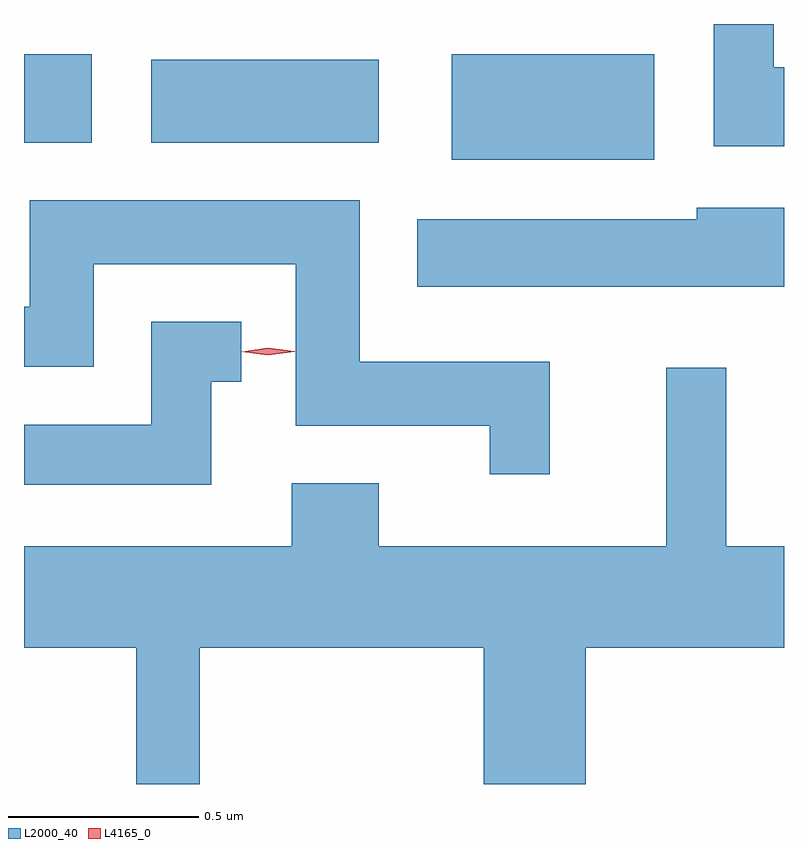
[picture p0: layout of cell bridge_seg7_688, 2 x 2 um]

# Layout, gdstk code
import gdstk
lib = gdstk.Library(unit=1e-6, precision=1e-09)
def R(c, l, rs):  # rectangles x0, y0, x1, y1
    for r in rs: c.add(gdstk.rectangle(r[:2], r[2:], *l))
def P(c, l, *ps):  # polygons
    for p in ps: c.add(gdstk.Polygon(p, *l))
L2000_40 = (2000, 40)
L4165_0 = (4165, 0)

bridge_seg7_688 = lib.new_cell('bridge_seg7_688')
R(bridge_seg7_688, L2000_40, [(974.231,1702.281,974.764,1702.559), (973.106,1702.326,973.284,1702.559), (973.441,1702.326,974.039,1702.544)])
P(bridge_seg7_688, L2000_40, [(975.106,1702.524),(975.079,1702.524),(975.079,1702.638),(974.921,1702.638),(974.921,1702.316),(975.106,1702.316)],
  [(974.489,1701.749),(973.989,1701.749),(973.989,1702.174),(973.121,1702.174),(973.121,1701.894),(973.106,1701.894),(973.106,1701.736),(973.289,1701.736),(973.289,1702.006),(973.821,1702.006),(973.821,1701.581),(974.331,1701.581),(974.331,1701.453),(974.489,1701.453)],
  [(975.106,1702.154),(974.876,1702.154),(974.876,1702.124),(974.141,1702.124),(974.141,1701.946),(975.106,1701.946)],
  [(973.599,1701.696),(973.678,1701.696),(973.678,1701.854),(973.441,1701.854),(973.441,1701.584),(973.106,1701.584),(973.106,1701.426),(973.599,1701.426)],
  [(973.569,1700.996),(974.316,1700.996),(974.316,1700.638),(974.584,1700.638),(974.584,1700.996),(975.106,1700.996),(975.106,1701.264),(974.954,1701.264),(974.954,1701.733),(974.796,1701.733),(974.796,1701.264),(974.039,1701.264),(974.039,1701.429),(973.811,1701.429),(973.811,1701.264),(973.106,1701.264),(973.106,1700.996),(973.401,1700.996),(973.401,1700.638),(973.569,1700.638)])
P(bridge_seg7_688, L4165_0, [(973.748,1701.766),(973.679,1701.775),(973.679,1701.776),(973.679,1701.776),(973.748,1701.786),(973.818,1701.777),(973.818,1701.777),(973.818,1701.776)])

lib.write_gds('bridge_seg7_688.gds')
